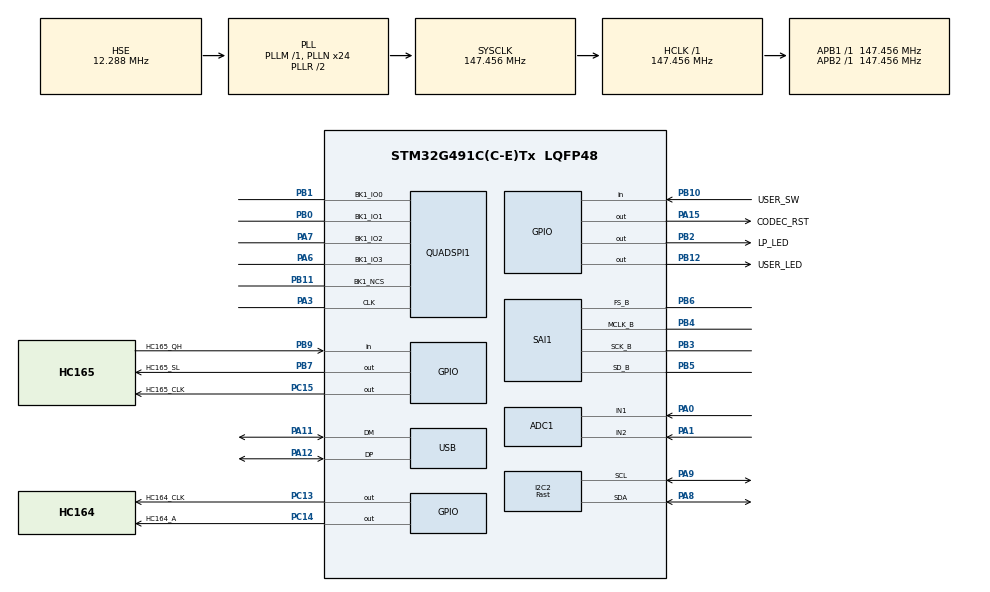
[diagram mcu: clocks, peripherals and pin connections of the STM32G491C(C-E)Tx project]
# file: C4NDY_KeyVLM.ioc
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ADC1.Channel-0\#ChannelRegularConversion=ADC_CHANNEL_1
ADC1.Channel-1\#ChannelRegularConversion=ADC_CHANNEL_2
ADC1.ClockPrescaler=ADC_CLOCK_ASYNC_DIV4
ADC1.ContinuousConvMode=ENABLE
ADC1.DMAContinuousRequests=ENABLE
ADC1.NbrOfConversion=2
ADC1.NbrOfConversionFlag=1
ADC1.OffsetNumber-0\#ChannelRegularConversion=ADC_OFFSET_NONE
ADC1.OffsetNumber-1\#ChannelRegularConversion=ADC_OFFSET_NONE
ADC1.Overrun=ADC_OVR_DATA_OVERWRITTEN
ADC1.OversamplingMode=DISABLE
ADC1.Rank-0\#ChannelRegularConversion=1
ADC1.Rank-1\#ChannelRegularConversion=2
ADC1.SamplingTime-0\#ChannelRegularConversion=ADC_SAMPLETIME_640CYCLES_5
ADC1.SamplingTime-1\#ChannelRegularConversion=ADC_SAMPLETIME_640CYCLES_5
ADC1.master=1
Dma.ADC1.0.Direction=DMA_PERIPH_TO_MEMORY
Dma.ADC1.0.EventEnable=DISABLE
Dma.ADC1.0.Instance=DMA1_Channel2
Dma.ADC1.0.MemDataAlignment=DMA_MDATAALIGN_HALFWORD
Dma.ADC1.0.MemInc=DMA_MINC_ENABLE
Dma.ADC1.0.Mode=DMA_CIRCULAR
Dma.ADC1.0.PeriphDataAlignment=DMA_PDATAALIGN_HALFWORD
Dma.ADC1.0.PeriphInc=DMA_PINC_DISABLE
Dma.ADC1.0.Polarity=HAL_DMAMUX_REQ_GEN_RISING
Dma.ADC1.0.Priority=DMA_PRIORITY_LOW
Dma.ADC1.0.RequestNumber=1
Dma.ADC1.0.SignalID=NONE
Dma.ADC1.0.SyncEnable=DISABLE
Dma.ADC1.0.SyncPolarity=HAL_DMAMUX_SYNC_NO_EVENT
Dma.ADC1.0.SyncRequestNumber=1
Dma.ADC1.0.SyncSignalID=NONE
Dma.Request0=ADC1
Dma.Request1=SAI1_B
Dma.SAI1_B.1.Direction=DMA_MEMORY_TO_PERIPH
Dma.SAI1_B.1.EventEnable=DISABLE
Dma.SAI1_B.1.Instance=DMA1_Channel1
Dma.SAI1_B.1.MemDataAlignment=DMA_MDATAALIGN_WORD
Dma.SAI1_B.1.MemInc=DMA_MINC_ENABLE
Dma.SAI1_B.1.Mode=DMA_CIRCULAR
Dma.SAI1_B.1.PeriphDataAlignment=DMA_PDATAALIGN_WORD
Dma.SAI1_B.1.PeriphInc=DMA_PINC_DISABLE
Dma.SAI1_B.1.Polarity=HAL_DMAMUX_REQ_GEN_RISING
Dma.SAI1_B.1.Priority=DMA_PRIORITY_LOW
Dma.SAI1_B.1.RequestNumber=1
Dma.SAI1_B.1.SignalID=NONE
Dma.SAI1_B.1.SyncEnable=DISABLE
Dma.SAI1_B.1.SyncPolarity=HAL_DMAMUX_SYNC_NO_EVENT
Dma.SAI1_B.1.SyncRequestNumber=1
Dma.SAI1_B.1.SyncSignalID=NONE
I2C2.I2C_Speed_Mode=I2C_Fast
I2C2.Timing=0x40200F35
Mcu.Family=STM32G4
Mcu.Name=STM32G491C(C-E)Tx
Mcu.Package=LQFP48
NVIC.ADC1_2_IRQn=true\:8\:0\:true\:false\:true\:true\:true\:true
NVIC.DMA1_Channel1_IRQn=true\:0\:0\:false\:false\:true\:false\:true\:true
NVIC.DMA1_Channel2_IRQn=true\:4\:0\:true\:false\:true\:false\:true\:true
NVIC.PriorityGroup=NVIC_PRIORITYGROUP_4
NVIC.SAI1_IRQn=true\:2\:0\:true\:false\:true\:true\:true\:true
NVIC.TIM6_DAC_IRQn=true\:8\:0\:true\:false\:true\:true\:true\:true
NVIC.USB_HP_IRQn=true\:0\:0\:false\:false\:true\:true\:true\:true
NVIC.USB_LP_IRQn=true\:3\:0\:true\:false\:true\:true\:true\:true
PA0.Signal=SharedAnalog_PA0
PA1.Signal=SharedAnalog_PA1
PA11.Mode=Device
PA11.Signal=USB_DM
PA12.Mode=Device
PA12.Signal=USB_DP
PA13.Mode=Serial_Wire
PA13.Signal=SYS_JTMS-SWDIO
PA14.Mode=Serial_Wire
PA14.Signal=SYS_JTCK-SWCLK
PA15.GPIO_Label=CODEC_RST
PA15.Signal=GPIO_Output
PA3.GPIO_Speed=GPIO_SPEED_FREQ_VERY_HIGH
PA3.Mode=Single Bank 1
PA3.Signal=QUADSPI1_CLK
PA6.GPIO_Speed=GPIO_SPEED_FREQ_VERY_HIGH
PA6.Mode=Single Bank 1
PA6.Signal=QUADSPI1_BK1_IO3
PA7.GPIO_Speed=GPIO_SPEED_FREQ_VERY_HIGH
PA7.Mode=Single Bank 1
PA7.Signal=QUADSPI1_BK1_IO2
PA8.Mode=I2C
PA8.Signal=I2C2_SDA
PA9.Mode=I2C
PA9.Signal=I2C2_SCL
PB0.GPIO_Speed=GPIO_SPEED_FREQ_VERY_HIGH
PB0.Mode=Single Bank 1
PB0.Signal=QUADSPI1_BK1_IO1
PB1.GPIO_Speed=GPIO_SPEED_FREQ_VERY_HIGH
PB1.Mode=Single Bank 1
PB1.Signal=QUADSPI1_BK1_IO0
PB10.GPIO_Label=USER_SW
PB10.GPIO_PuPd=GPIO_PULLUP
PB10.Signal=GPIO_Input
PB11.GPIO_Speed=GPIO_SPEED_FREQ_VERY_HIGH
PB11.Mode=Single Bank 1
PB11.Signal=QUADSPI1_BK1_NCS
PB12.GPIO_Label=USER_LED
PB12.Signal=GPIO_Output
PB2.GPIO_Label=LP_LED
PB2.Signal=GPIO_Output
PB3.GPIO_Speed=GPIO_SPEED_FREQ_VERY_HIGH
PB3.Mode=SAI_B_MasterWithClock
PB3.Signal=SAI1_SCK_B
PB4.GPIO_Speed=GPIO_SPEED_FREQ_VERY_HIGH
PB4.Mode=SAI_B_MasterWithClock
PB4.Signal=SAI1_MCLK_B
PB5.GPIO_Speed=GPIO_SPEED_FREQ_VERY_HIGH
PB5.Mode=SAI_B_MasterWithClock
PB5.Signal=SAI1_SD_B
PB6.GPIO_FM6=__NULL
PB6.GPIO_Speed=GPIO_SPEED_FREQ_VERY_HIGH
PB6.Mode=SAI_B_MasterWithClock
PB6.Signal=SAI1_FS_B
PB7.GPIO_Label=HC165_SL
PB7.GPIO_Speed=GPIO_SPEED_FREQ_HIGH
PB7.Signal=GPIO_Output
PB9.GPIO_Label=HC165_QH
PB9.Signal=GPIO_Input
PC13.GPIO_Label=HC164_CLK
PC13.Signal=GPIO_Output
PC14-OSC32_IN.GPIO_Label=HC164_A
PC14-OSC32_IN.Signal=GPIO_Output
PC15-OSC32_OUT.GPIO_Label=HC165_CLK
PC15-OSC32_OUT.Signal=GPIO_Output
PF0-OSC_IN.Mode=HSE-External-Clock-Source
PF0-OSC_IN.Signal=RCC_OSC_IN
ProjectManager.HeapSize=0x200
ProjectManager.StackSize=0x400
ProjectManager.TargetToolchain=STM32CubeIDE
QUADSPI1.ClockMode=QSPI_CLOCK_MODE_0
QUADSPI1.ClockPrescaler=1
QUADSPI1.FifoThreshold=4
QUADSPI1.FlashSize=10
QUADSPI1.SampleShifting=QSPI_SAMPLE_SHIFTING_NONE
RCC.ADC12Freq_Value=147456000
RCC.ADC345Freq_Value=147456000
RCC.AHBFreq_Value=147456000
RCC.APB1Freq_Value=147456000
RCC.APB1TimFreq_Value=147456000
RCC.APB2Freq_Value=147456000
RCC.APB2TimFreq_Value=147456000
RCC.CortexFreq_Value=147456000
RCC.EXTERNAL_CLOCK_VALUE=12288000
RCC.HCLKFreq_Value=147456000
RCC.HSE_VALUE=12288000
RCC.HSI48_VALUE=48000000
RCC.HSI_VALUE=16000000
RCC.LSE_VALUE=32768
RCC.PLLN=24
RCC.PLLQ=RCC_PLLQ_DIV6
RCC.PLLSourceVirtual=RCC_PLLSOURCE_HSE
RCC.PWR_Regulator_Voltage_Scale=PWR_REGULATOR_VOLTAGE_SCALE1_BOOST
RCC.SAI1CLockSelection=RCC_SAI1CLKSOURCE_PLL
RCC.SYSCLKFreq_VALUE=147456000
RCC.SYSCLKSource=RCC_SYSCLKSOURCE_PLLCLK
RCC.USBFreq_Value=48000000
RCC.VCOOutputFreq_Value=294912000
SAI1.ActiveFrameLength-SAI_B_MasterWithClock=32
SAI1.AudioFrequency-SAI_B_MasterWithClock=SAI_AUDIO_FREQUENCY_48K
SAI1.DataSize-SAI_B_MasterWithClock=SAI_DATASIZE_24
SAI1.FIFOThreshold-SAI_B_MasterWithClock=SAI_FIFOTHRESHOLD_HF
SAI1.FirstBitOffset-SAI_B_MasterWithClock=0
SAI1.FrameLength-SAI_B_MasterWithClock=64
SAI1.Instance-SAI_B_MasterWithClock=SAI$Index_Block_B
SAI1.MckOutput-SAI_B_MasterWithClock=SAI_MCK_OUTPUT_ENABLE
SAI1.MckOverSampling-SAI_B_MasterWithClock=SAI_MCK_OVERSAMPLING_DISABLE
SAI1.MonoStereoMode-SAI_B_MasterWithClock=SAI_STEREOMODE
SAI1.NoDivider-SAI_B_MasterWithClock=SAI_MASTERDIVIDER_ENABLE
SAI1.SlotActive-SAI_B_MasterWithClock=0x0000FFFF
SAI1.SlotNumber-SAI_B_MasterWithClock=2
SAI1.SlotSize-SAI_B_MasterWithClock=SAI_SLOTSIZE_32B
SAI1.VirtualMode-SAI_B_MasterWithClock=VM_MASTER
SAI1.VirtualSlotActive-SAI_B_MasterWithClock=SAI_SLOTACTIVE_ALL
SH.SharedAnalog_PA0.0=GPIO_Analog
SH.SharedAnalog_PA0.1=ADC1_IN1,IN1-Single-Ended
SH.SharedAnalog_PA1.0=GPIO_Analog
SH.SharedAnalog_PA1.1=ADC1_IN2,IN2-Single-Ended
TIM6.PeriodNoDither=20-1
TIM6.Prescaler=32768-1
USB.Sof_enable=ENABLE
VP_TIM6_VS_ClockSourceINT.Mode=Enable_Timer
board=custom

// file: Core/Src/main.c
/* USER CODE BEGIN Header */
/**
 ******************************************************************************
 * @file           : main.c
 * @brief          : Main program body
 ******************************************************************************
 * @attention
 *
 * Copyright (c) 2023 STMicroelectronics.
 * All rights reserved.
 *
 * This software is licensed under terms that can be found in the LICENSE file
 * in the root directory of this software component.
 * If no LICENSE file comes with this software, it is provided AS-IS.
 *
 ******************************************************************************
 */
/* USER CODE END Header */
#include "main.h"
#include "adc.h"
#include "dma.h"
#include "i2c.h"
#include "quadspi.h"
#include "sai.h"
#include "tim.h"
#include "usb.h"
#include "gpio.h"

/* USER CODE BEGIN Includes */
#include <stdbool.h>
#include <stdlib.h>
#include <math.h>

#include "usb_descriptors.h"

#include "keyboard.h"
#include "audio_control.h"
/* USER CODE END Includes */

/* USER CODE BEGIN PD */
#define FLASH_DATA_ADDR 0x0807F000

#define AUDIO_SAMPLE_RATE 48000

/* USER CODE END PD */

void SystemClock_Config(void);

/* USER CODE BEGIN 0 */

//--------------------------------------------------------------------+
// Application Callback API Implementations
//--------------------------------------------------------------------+
// Invoked when device is mounted
void tud_mount_cb(void)
{
    // blink_interval_ms = BLINK_MOUNTED;
}

// Invoked when device is unmounted
void tud_umount_cb(void)
{
    // blink_interval_ms = BLINK_NOT_MOUNTED;
}

// Invoked when usb bus is suspended
// remote_wakeup_en : if host allow us  to perform remote wakeup
// Within 7ms, device must draw an average of current less than 2.5 mA from bus
void tud_suspend_cb(bool remote_wakeup_en)
{
    (void) remote_wakeup_en;
    // blink_interval_ms = BLINK_SUSPENDED;
}

// Invoked when usb bus is resumed
void tud_resume_cb(void)
{
    // blink_interval_ms = BLINK_MOUNTED;
}

void HAL_TIM_PeriodElapsedCallback(TIM_HandleTypeDef* htim)
{
    if (htim == &htim6)
    {
    }
}

void erase_flash_data(void)
{
    static FLASH_EraseInitTypeDef EraseInitStruct;
    uint32_t PAGEError;
    EraseInitStruct.TypeErase = FLASH_TYPEERASE_PAGES;
    EraseInitStruct.Page      = 254;
    EraseInitStruct.NbPages   = 2;

    if (HAL_FLASHEx_Erase(&EraseInitStruct, &PAGEError) != HAL_OK)
    {
        SEGGER_RTT_printf(0, "flash erase error...\n");
    }
}

void write_flash_data(uint16_t index, uint8_t val)
{
    if (HAL_FLASH_Program(FLASH_TYPEPROGRAM_DOUBLEWORD, FLASH_DATA_ADDR + 8 * index, val) != HAL_OK)
    {
        SEGGER_RTT_printf(0, "flash program error...\n");
    }
}

uint64_t read_flash_data(uint16_t index)
{
    return *(uint64_t*) (FLASH_DATA_ADDR + 8 * index);
}

void setBootDfuFlag(bool is_boot_dfu)
{
    SEGGER_RTT_printf(0, "erase & write FLASH...\n");
    HAL_FLASH_Unlock();

    uint64_t currentKeyMap[2][MATRIX_ROWS][MATRIX_COLUMNS] = {0x0};

    SEGGER_RTT_printf(0, "current KeyMap\n");
    for (int k = 0; k < 2; k++)
    {
        SEGGER_RTT_printf(0, "Layout:%d\n", k + 1);
        SEGGER_RTT_printf(0, "[\n");
        for (int i = 0; i < MATRIX_ROWS; i++)
        {
            SEGGER_RTT_printf(0, "[");
            for (int j = 0; j < MATRIX_COLUMNS; j++)
            {
                currentKeyMap[k][i][j] = read_flash_data(BASIC_PARAMS_NUM + k * (MATRIX_ROWS * MATRIX_COLUMNS) + i * MATRIX_COLUMNS + j);
                SEGGER_RTT_printf(0, "%02X ", currentKeyMap[k][i][j]);
            }
            SEGGER_RTT_printf(0, "]\n");
        }
        SEGGER_RTT_printf(0, "]\n\n");
    }

    erase_flash_data();

    if (is_boot_dfu)
    {
        write_flash_data(0, 1);
    }
    else
    {
        write_flash_data(0, 0);
    }
    write_flash_data(1, getLinePhonoSW());
    write_flash_data(2, getKeymapID());

    SEGGER_RTT_printf(0, "reload KeyMap\n");
    for (int k = 0; k < 2; k++)
    {
        SEGGER_RTT_printf(0, "Layout:%d\n", k + 1);
        SEGGER_RTT_printf(0, "[\n");
        for (int i = 0; i < MATRIX_ROWS; i++)
        {
            SEGGER_RTT_printf(0, "[");
            for (int j = 0; j < MATRIX_COLUMNS; j++)
            {
                write_flash_data(BASIC_PARAMS_NUM + k * (MATRIX_ROWS * MATRIX_COLUMNS) + i * MATRIX_COLUMNS + j, currentKeyMap[k][i][j]);
                SEGGER_RTT_printf(0, "%02X ", currentKeyMap[k][i][j]);
            }
            SEGGER_RTT_printf(0, "]\n");
        }
        SEGGER_RTT_printf(0, "]\n\n");
    }

    HAL_FLASH_Lock();
}
/* USER CODE END 0 */

int main(void)
{

    /* MCU Configuration--------------------------------------------------------*/

    /* Reset of all peripherals, Initializes the Flash interface and the Systick. */
    HAL_Init();

    /* Configure the system clock */
    SystemClock_Config();

    /* Initialize all configured peripherals */
    MX_GPIO_Init();
    MX_DMA_Init();
    MX_SAI1_Init();
    MX_QUADSPI1_Init();
    MX_I2C2_Init();
    MX_ADC1_Init();
    MX_USB_PCD_Init();
    MX_TIM6_Init();
    /* USER CODE BEGIN 2 */
    HAL_GPIO_WritePin(USER_LED_GPIO_Port, USER_LED_Pin, GPIO_PIN_SET);

    SEGGER_RTT_printf(0, "Unique Device ID = %X-%X-%X\n", HAL_GetUIDw0(), HAL_GetUIDw1(), HAL_GetUIDw2());

    SEGGER_RTT_printf(0, "initialize ADAU1761...\n");
    default_download_IC_1();

    SEGGER_RTT_printf(0, "initialize tinyUSB...\n");
    tusb_init();

    SEGGER_RTT_printf(0, "start ADC DMA...\n");
    start_adc();

    SEGGER_RTT_printf(0, "start SAI DMA...\n");
    start_sai();

    // HAL_TIM_Base_Start_IT(&htim6);

    SEGGER_RTT_printf(0, "user_sw = %d\n", HAL_GPIO_ReadPin(USER_SW_GPIO_Port, USER_SW_Pin));
    if (!HAL_GPIO_ReadPin(USER_SW_GPIO_Port, USER_SW_Pin))
    {
        SEGGER_RTT_printf(0, "init flash data");

        factoryReset();
    }

    loadKeyboardSettingsFromFlash();
    /* USER CODE END 2 */

    /* Infinite loop */
    /* USER CODE BEGIN WHILE */
    while (1)
    {
        tud_task();

        read_audio_data_from_usb(N_SAMPLES_PER_1_RX * CFG_TUD_AUDIO_FUNC_1_N_BYTES_PER_SAMPLE_RX * CFG_TUD_AUDIO_FUNC_1_N_CHANNELS_RX);

        codec_control_task();

        hid_keyscan_task();

        /* USER CODE END WHILE */

    }
}

void SystemClock_Config(void)
{
    RCC_OscInitTypeDef RCC_OscInitStruct = {0};
    RCC_ClkInitTypeDef RCC_ClkInitStruct = {0};

    /** Configure the main internal regulator output voltage
     */
    HAL_PWREx_ControlVoltageScaling(PWR_REGULATOR_VOLTAGE_SCALE1_BOOST);

    /** Initializes the RCC Oscillators according to the specified parameters
     * in the RCC_OscInitTypeDef structure.
     */
    RCC_OscInitStruct.OscillatorType = RCC_OSCILLATORTYPE_HSI48 | RCC_OSCILLATORTYPE_HSE;
    RCC_OscInitStruct.HSEState       = RCC_HSE_BYPASS;
    RCC_OscInitStruct.HSI48State     = RCC_HSI48_ON;
    RCC_OscInitStruct.PLL.PLLState   = RCC_PLL_ON;
    RCC_OscInitStruct.PLL.PLLSource  = RCC_PLLSOURCE_HSE;
    RCC_OscInitStruct.PLL.PLLM       = RCC_PLLM_DIV1;
    RCC_OscInitStruct.PLL.PLLN       = 24;
    RCC_OscInitStruct.PLL.PLLP       = RCC_PLLP_DIV2;
    RCC_OscInitStruct.PLL.PLLQ       = RCC_PLLQ_DIV6;
    RCC_OscInitStruct.PLL.PLLR       = RCC_PLLR_DIV2;
    if (HAL_RCC_OscConfig(&RCC_OscInitStruct) != HAL_OK)
    {
        Error_Handler();
    }

    /** Initializes the CPU, AHB and APB buses clocks
     */
    RCC_ClkInitStruct.ClockType      = RCC_CLOCKTYPE_HCLK | RCC_CLOCKTYPE_SYSCLK | RCC_CLOCKTYPE_PCLK1 | RCC_CLOCKTYPE_PCLK2;
    RCC_ClkInitStruct.SYSCLKSource   = RCC_SYSCLKSOURCE_PLLCLK;
    RCC_ClkInitStruct.AHBCLKDivider  = RCC_SYSCLK_DIV1;
    RCC_ClkInitStruct.APB1CLKDivider = RCC_HCLK_DIV1;
    RCC_ClkInitStruct.APB2CLKDivider = RCC_HCLK_DIV1;

    if (HAL_RCC_ClockConfig(&RCC_ClkInitStruct, FLASH_LATENCY_4) != HAL_OK)
    {
        Error_Handler();
    }
}

void Error_Handler(void)
{
    __disable_irq();
    while (1)
    {
    }
}
